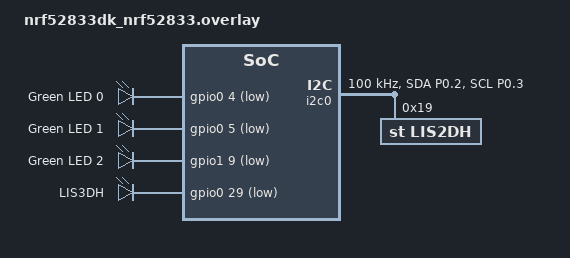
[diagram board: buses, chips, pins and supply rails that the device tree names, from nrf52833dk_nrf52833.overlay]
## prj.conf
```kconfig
CONFIG_BT=y
CONFIG_BT_EXT_ADV=y
CONFIG_BT_PER_ADV=y
CONFIG_BT_DEVICE_NAME="My Device"

CONFIG_PM_DEVICE=y
CONFIG_CBPRINTF_FP_SUPPORT=y
CONFIG_I2C=y
CONFIG_SENSOR=y
CONFIG_LOG=y
CONFIG_SERIAL=y 
CONFIG_SENSOR_LOG_LEVEL_DBG=y
CONFIG_MULTITHREADING=y
CONFIG_STDOUT_CONSOLE=y
CONFIG_LIS2DH=y
CONFIG_LIS2DH_OPER_MODE_LOW_POWER=y 
CONFIG_LIS2DH_ACCEL_RANGE_2G=y
CONFIG_BT_CTLR_ADV_DATA_LEN_MAX=1650

CONFIG_DEBUG_OPTIMIZATIONS=y
CONFIG_DEBUG_THREAD_INFO=y
CONFIG_GPIO=y
CONFIG_GPIO_NRFX=y
```

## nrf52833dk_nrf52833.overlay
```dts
&i2c0 {
    compatible = "nordic,nrf-twim";
    status = "okay";

    clock-frequency = <I2C_BITRATE_STANDARD>;

    lis2dh@19 {
        status = "okay";
        compatible = "st,lis2dh";
        reg = <0x19>;
       
        label = "LIS2DH";
        
    };
};
//For 52833 node


/{leds {
    compatible = "gpio-leds";
    led0: led_0 {
        gpios = <&gpio0 4 GPIO_ACTIVE_LOW>;
        label = "Green LED 0";
    };
    led1: led_1 {
        gpios = <&gpio0 5 GPIO_ACTIVE_LOW>;
        label = "Green LED 1";
    };
    led2: led_2 {
        gpios = <&gpio1 9 GPIO_ACTIVE_LOW>;
        label = "Green LED 2";
    };
    led3: led_3 {
        gpios = <&gpio0 29 GPIO_ACTIVE_LOW>;
        label = "LIS3DH";
    };
};
aliases {
    led0 = &led0;
    led1 = &led1;
    led2 = &led2;
    led3 = &led3;
};
};
&i2c0 {
compatible = "nordic,nrf-twi";
status = "okay";
pinctrl-0 = <&i2c0_default>;
pinctrl-1 = <&i2c0_sleep>;
pinctrl-names = "default", "sleep";
};
&pinctrl {
i2c0_default: i2c0_default {
    group1 {
        psels = <NRF_PSEL(TWIM_SDA, 0, 2)>,
                <NRF_PSEL(TWIM_SCL, 0, 3)>;
    };
};

i2c0_sleep: i2c0_sleep {
    group1 {
        psels = <NRF_PSEL(TWIM_SDA, 0, 2)>,
                <NRF_PSEL(TWIM_SCL, 0, 3)>;
        low-power-enable;
    };
};
uart0_default: uart0_default {
    group1 {
        psels = <NRF_PSEL(UART_TX, 0, 15)>;		
    };
    group2 {
        psels = <NRF_PSEL(UART_RX, 0,17)>;		
        bias-pull-up;
    };
};

uart0_sleep: uart0_sleep {
    group1 {
        psels = <NRF_PSEL(UART_TX, 0, 15)>,
            <NRF_PSEL(UART_RX, 0, 17)>;
        low-power-enable;
    };
};
};
```

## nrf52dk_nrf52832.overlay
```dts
&i2c0 {
    compatible = "nordic,nrf-twim";
    status = "okay";
    clock-frequency = <I2C_BITRATE_STANDARD>;

    lis2dh@19 {
        status = "okay";
        compatible = "st,lis2dh";
        reg = <0x19>;
        label = "LIS2DH";
    };
};



/* For node only */

// / {
//     leds {
//     compatible = "gpio-leds";
//     led0: led_0 {
//         gpios = <&gpio0 2 GPIO_ACTIVE_LOW>;
//         label = "Green LED 0";
//     };
//     led1: led_1 {
//         gpios = <&gpio0 3 GPIO_ACTIVE_LOW>;
//         label = "Green LED 1";
//     };
//     led2: led_2 {
//         gpios = <&gpio0 4 GPIO_ACTIVE_LOW>;
//         label = "Green LED 2";
//     };
// };
// };

// &pinctrl {
//     uart0_default: uart0_default {
//             group1 {
//                     psels = <NRF_PSEL(UART_TX, 0, 24)>,
//                                    <NRF_PSEL(UART_RX, 0, 23)>,
//                                    <NRF_PSEL(UART_RTS, 0, 5)>,
//                                    <NRF_PSEL(UART_CTS, 0, 7)>;
//             };
//     };

//     uart0_sleep: uart0_sleep {
//             group1 {
//                     psels = <NRF_PSEL(UART_TX, 0,24)>,
//                                    <NRF_PSEL(UART_RX, 0, 23)>,
//                                    <NRF_PSEL(UART_RTS, 0, 5)>,
//                                    <NRF_PSEL(UART_CTS, 0, 7)>;
//                     low-power-enable;
//             };
//     };

//     i2c0_default: i2c0_default {
//             group1 {
//                     psels = <NRF_PSEL(TWIM_SDA, 0, 26)>,
//                                    <NRF_PSEL(TWIM_SCL, 0, 25)>;
//             };
//     };

//     i2c0_sleep: i2c0_sleep {
//             group1 {
//                     psels = <NRF_PSEL(TWIM_SDA, 0, 26)>,
//                                    <NRF_PSEL(TWIM_SCL, 0, 25)>;
//                     low-power-enable;
//             };
//     };
// };
```

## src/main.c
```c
/*
 * Copyright (c) 2020 Nordic Semiconductor ASA
 *
 * SPDX-License-Identifier: Apache-2.0
 */

#include <zephyr/bluetooth/bluetooth.h>
#include <zephyr/kernel.h>
#include <zephyr/drivers/gpio.h>
#include <zephyr/device.h>
#include <zephyr/pm/pm.h>
#include <hal/nrf_gpio.h>
#include <zephyr/drivers/sensor.h>

#define SENSOR_TYPE     0x1E
#define TOTAL_PACKETS    1

/* Global Variables */
struct k_work my_work, acc_work;
struct k_timer my_timer, acc_timer;

/* Advertisement struct */
struct bt_le_ext_adv *adv;

/* Sensor node id */
const struct device *sensor = DEVICE_DT_GET_ANY(st_lis2dh);

/* acc_ptr points to Motion_data[0] and acc_ptr++ points to Motion_data[1] */
uint8_t *acc_ptr;

typedef struct {
    uint8_t x_lsb;
    uint8_t y_lsb;
    uint8_t z_lsb;
} motion_data;

motion_data Motion_data[80];

/* Button variables */
static uint32_t time, last_time; /* used for detecting long button press */
static uint32_t button_counter = 0;
int sleep_flag = 1;
static int Motion_index = 0;
int acc_fetch_flag = 0; /* 0 to 80 indexing */

int err;

/*
 * define the advertising set parameters
 * BT_LE_ADV_OPT_NONE is for non-connectable and non-scannable advertising
 * BT_LE_ADV_OPT_EXT_ADV is for extended advertising
 * BT_LE_ADV_OPT_USE_IDENTITY is for using identity address as the advertiser's address
 * BT_LE_ADV_OPT_NO_2M is used to enable secondary advertising on LE 1M.
 */
struct bt_le_adv_param adv_param = BT_LE_ADV_PARAM_INIT(
    BT_LE_ADV_OPT_NONE | BT_LE_ADV_OPT_EXT_ADV | BT_LE_ADV_OPT_USE_IDENTITY | BT_LE_ADV_OPT_NO_2M,
    0x20,
    0x20,
    NULL); /* NULL because the advertisement is not directed */

/* start advertising with no timeout and exactly one extended advertising event allowed in the extended advertising set. */
struct bt_le_ext_adv_start_param ext_adv_param = BT_LE_EXT_ADV_START_PARAM_INIT(0, 1); /* number of events is set to 1. */

/* FUNCTION FOR APPROXIMATION */
double round_off(float value)
{
    if (value > 0) {
        if ((int)(value * 10) % 10 <= 4)
            return (uint8_t)(value);
        else
            return (uint8_t)(value + 1);
    } else {
        return (int8_t)(value);
    }
}

void enter_sleep(void)
{
    printk("Entering SYSTEM-OFF mode\n");
    NRF_POWER->SYSTEMOFF = 1;
}

/* function for creating a random static address and setting it as the identity address of the device. */
static void set_random_static_address(void)
{
    int err;
    int err1;
    printk("Starting iBeacon Demo\n");

    bt_addr_le_t addr;

    /* convert the string into a binary address and stores this address in a buffer whose address is addr. */
    err = bt_addr_le_from_str("DE:AD:BE:AF:BA:11", "random", &addr); /* Only random static address can be given when the type is set to "random" */
    if (err) {
        printk("Invalid BT address (err %d)\n", err);
    }

    /* create a new Identity address. This must be done before enabling Bluetooth. Addr is the address used for the new identity */
    err1 = bt_id_create(&addr, NULL);
    if (err1 < 0) {
        printk("Creating new ID failed (err %d)\n", err1);
    }
    printk("Created new address\n");
}

/* function to create the extended advertising set using the advertising parameters. */
void adv_param_init(void)
{
    int err;

    err = bt_le_ext_adv_create(&adv_param, NULL, &adv);

    if (err) {
        printk("Failed to create advertising set (err %d)\n", err);
        return;
    }
    printk("Created extended advertising set \n");
}

static int count = 0;

void fetch_acc_data(void)
{
    struct sensor_value accel[3];

    if (sensor == NULL) {
        printf("No device found\n");
        return;
    }
    if (!device_is_ready(sensor)) {
        printf("Device %s is not ready\n", sensor->name);
        return;
    }

    int rc = sensor_sample_fetch(sensor);

    if (rc == 0) {
        rc = sensor_channel_get(sensor, SENSOR_CHAN_ACCEL_XYZ, accel);
    }
    if (rc < 0) {
        printf("ERROR: Update failed: %d\n", rc);
    } else {
        /* UPDATE SUCCESSFULL! Sensor works good */
        count++; /* For the counting of (x,y,z) readings as accel[3] */

        printf(" %d ", count);
        printf("x= %f, y= %f, z= %f\n",
               sensor_value_to_double(&accel[0]), sensor_value_to_double(&accel[1]),
               sensor_value_to_double(&accel[2]));
    }
    /* acc_fetch_flag = 0 now */
    Motion_data[acc_fetch_flag].x_lsb = (int8_t)(round_off(accel[0].val1 * 6.4 + accel[0].val2 * 0.0000064));
    Motion_data[acc_fetch_flag].y_lsb = (int8_t)(round_off(accel[1].val1 * 6.4 + accel[1].val2 * 0.0000064));
    Motion_data[acc_fetch_flag].z_lsb = (int8_t)(round_off(accel[2].val1 * 6.4 + accel[2].val2 * 0.0000064));
    printf("x= %u, y= %u, z=%u\n", Motion_data[acc_fetch_flag].x_lsb, Motion_data[acc_fetch_flag].y_lsb, Motion_data[acc_fetch_flag].z_lsb);

    /* All these values goes in Motion_data which is a struct having 6 values and we will take 41 readings at a time. */
    acc_fetch_flag++; /* flag = 1,2,3,4.....and the motion_data is updated with the new values till flag = 41. */
    /* Hence 6 readings 41 times = 246 bytes. */
    if (acc_fetch_flag == 80) {
        acc_fetch_flag = 0; /* After 41 the next reading will go in Motion_data[0]. */

        k_timer_stop(&acc_timer); /* As it will reach 41st reading --> Then timer is stopped. No further data will be fetched as of now. */
        repeated_adv();
        /* It means that after 10 seconds repeated adv will start. */
    }
}

void start_adv(void)
{
    printk("Start Extended Advertising...");
    err = bt_le_ext_adv_start(adv, &ext_adv_param);

    if (err) {
        printk("Failed to start extended advertising (err %d)\n", err);
        return;
    }
    printk("done.\n");
    k_msleep(100);
    bt_le_ext_adv_stop(adv);
    printk("Stopped advertising..!!\n");

    printk("Entering sleep mode..!!\n");

    Motion_index = 0;
    k_msleep(20000);

    k_timer_start(&acc_timer, K_MSEC(500), K_MSEC(500));
}

int i;
void repeated_adv(void)
{
    int err;

    static uint8_t mfg_data[246];
    static const struct bt_data ad[] = {BT_DATA(BT_DATA_MANUFACTURER_DATA, mfg_data, 246)};

    mfg_data[0] = 110; /* Device ID */

    acc_ptr = &Motion_data[Motion_index].x_lsb;

    for (i = 1; i < 241; i++) {
        mfg_data[i] = *(acc_ptr + (i - 1));
        printf("%d ", mfg_data[i]);
    }

    Motion_index = Motion_index + 80;

    printk("Set Extended Advertising Data...\n");
    err = bt_le_ext_adv_set_data(adv, ad, ARRAY_SIZE(ad), NULL, 0);
    if (err) {
        printk("Failed (err %d)\n", err);
        return;
    }
    start_adv();
}

K_WORK_DEFINE(my_work, repeated_adv);

void my_expiry_function(struct k_timer *timer_id)
{
    k_work_submit(&my_work); /* After this submit-> My-work will start executing. */
};
K_TIMER_DEFINE(my_timer, my_expiry_function, NULL);
/* Expiry function is executed each time the timer expires. */

K_WORK_DEFINE(acc_work, fetch_acc_data);
/* Definitions of K_WORK_DEFINE is to initialize the work inside. */
/* Repeated_adv, my_timer and acc_work are defined and initialize. */

/* Hence as soon as the timer is expired --> repeated adv will take place. */
void acc_expiry_function(struct k_timer *timer_id)
{
    k_work_submit(&acc_work);
};
K_TIMER_DEFINE(acc_timer, acc_expiry_function, NULL);

/* Hence as soon as the acc_timer expires --> data will be fetched. */

int j = 0;

void main(void)
{
    nrf_gpio_cfg_output(DT_GPIO_PIN(DT_NODELABEL(led3), gpios));
    nrf_gpio_pin_set(DT_GPIO_PIN(DT_NODELABEL(led3), gpios)); /* make pin28 high */

    nrf_gpio_cfg_input(DT_GPIO_PIN(DT_NODELABEL(button0), gpios), /* enable button0 as input pin */
                       NRF_GPIO_PIN_PULLUP);
    nrf_gpio_cfg_sense_set(DT_GPIO_PIN(DT_NODELABEL(button0), gpios),
                           NRF_GPIO_PIN_SENSE_LOW); /* Button is 0 when it is pressed. */

    int status = nrf_gpio_pin_read(DT_GPIO_PIN(DT_NODELABEL(button0), gpios)); /* status variable carries current status of the pin. */

    printk("button status=%d\n", status); /* status is 0 when button is pressed, and greater than 0 when button is not pressed */

    while (nrf_gpio_pin_read(DT_GPIO_PIN(DT_NODELABEL(button0), gpios)) == 0) /* return value zero indicates that the button is pressed */
    {
        time = k_uptime_get(); /* get the time elapsed since the device booted up (in milliseconds) */

        if (button_counter == 0) {
            last_time = time; /* will be executed only once. */
        }

        if (last_time + 5000 == time) /* counts 5 seconds since the start of the button press. Change the value to 2000 for 2 seconds long press */
        {
            button_counter = 0;
            sleep_flag = 0; /* the flag takes the value zero only when the button is pressed continuously for 5 seconds */
            printk("Button was pressed continuously for 5 seconds..\n");
            printk("last time=%d\n", last_time);
            printk("time=%d\n", time);

            while (j <= 5) /* toggling of led0 is used as an idication that 5 seconds have elapsed since we press the button */
            {
                nrf_gpio_cfg_output(DT_GPIO_PIN(DT_NODELABEL(led0), gpios)); /* configure led0 as the output pin */
                nrf_gpio_pin_toggle(DT_GPIO_PIN(DT_NODELABEL(led0), gpios)); /* toggle the LED */
                k_sleep(K_MSEC(50));
                j++;
            }
            break; /* when button is pressed continuously for 5 seconds, blink led0. Then come out of the loop, set parameters and start advertising */
        }

        button_counter = button_counter + 1;
    }

    while (sleep_flag) {
        enter_sleep(); /* as long as the sleep flag is 1, stay in deep sleep mode. */
    }

    nrf_gpio_pin_set(DT_GPIO_PIN(DT_NODELABEL(led0), gpios)); /* switch off the LED */
    int err;

    printk("Starting Periodic Advertising Demo\n");

    /* Create a random static address and set it as the identity address of the device */
    set_random_static_address();

    /* Initialize the Bluetooth Subsystem */
    err = bt_enable(NULL);
    if (err) {
        printk("Bluetooth init failed (err %d)\n", err);
        return;
    }

    adv_param_init();
    k_timer_start(&acc_timer, K_MSEC(500), K_MSEC(500));
}
```
